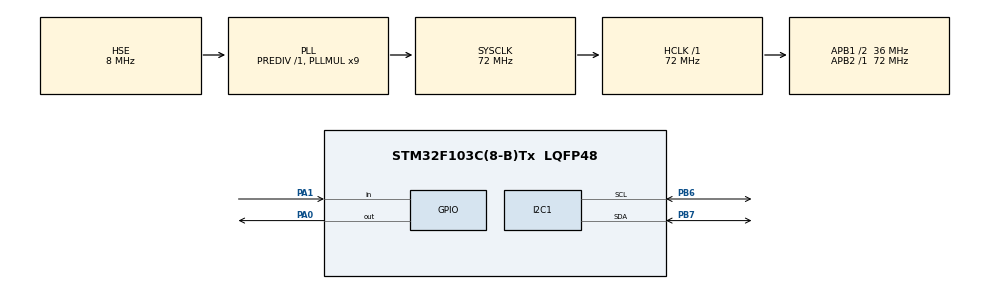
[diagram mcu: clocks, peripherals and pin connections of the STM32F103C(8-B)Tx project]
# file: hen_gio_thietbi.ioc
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Mcu.Family=STM32F1
Mcu.Name=STM32F103C(8-B)Tx
Mcu.Package=LQFP48
NVIC.PriorityGroup=NVIC_PRIORITYGROUP_4
NVIC.TIM1_UP_IRQn=true\:0\:0\:false\:false\:true\:true\:true\:true
PA0-WKUP.GPIO_Speed=GPIO_SPEED_FREQ_HIGH
PA0-WKUP.PinState=GPIO_PIN_SET
PA0-WKUP.Signal=GPIO_Output
PA1.GPIO_PuPd=GPIO_PULLUP
PA1.Signal=GPIO_Input
PA13.Mode=Serial_Wire
PA13.Signal=SYS_JTMS-SWDIO
PA14.Mode=Serial_Wire
PA14.Signal=SYS_JTCK-SWCLK
PB6.Mode=I2C
PB6.Signal=I2C1_SCL
PB7.Mode=I2C
PB7.Signal=I2C1_SDA
PD0-OSC_IN.Mode=HSE-External-Oscillator
PD0-OSC_IN.Signal=RCC_OSC_IN
PD1-OSC_OUT.Mode=HSE-External-Oscillator
PD1-OSC_OUT.Signal=RCC_OSC_OUT
ProjectManager.HeapSize=0x200
ProjectManager.StackSize=0x400
ProjectManager.TargetToolchain=MDK-ARM V5.32
RCC.AHBFreq_Value=72000000
RCC.APB1CLKDivider=RCC_HCLK_DIV2
RCC.APB1Freq_Value=36000000
RCC.APB1TimFreq_Value=72000000
RCC.APB2Freq_Value=72000000
RCC.APB2TimFreq_Value=72000000
RCC.HCLKFreq_Value=72000000
RCC.PLLMUL=RCC_PLL_MUL9
RCC.PLLSourceVirtual=RCC_PLLSOURCE_HSE
RCC.SYSCLKFreq_VALUE=72000000
RCC.SYSCLKSource=RCC_SYSCLKSOURCE_PLLCLK
RCC.USBFreq_Value=72000000
TIM1.Period=9999
TIM1.Prescaler=7199
VP_TIM1_VS_ClockSourceINT.Mode=Internal
board=custom

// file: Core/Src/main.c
/* USER CODE BEGIN Header */
/**
  ******************************************************************************
  * @file           : main.c
  * @brief          : Main program body
  ******************************************************************************
  * @attention
  *
  * Copyright (c) 2022 STMicroelectronics.
  * All rights reserved.
  *
  * This software is licensed under terms that can be found in the LICENSE file
  * in the root directory of this software component.
  * If no LICENSE file comes with this software, it is provided AS-IS.
  *
  ******************************************************************************
  */
/* USER CODE END Header */
#include "main.h"

/* USER CODE BEGIN Includes */
#include "i2c-lcd.h"
/* USER CODE END Includes */

 I2C_HandleTypeDef hi2c1;

TIM_HandleTypeDef htim1;

void SystemClock_Config(void);
static void MX_GPIO_Init(void);
static void MX_TIM1_Init(void);
static void MX_I2C1_Init(void);

/* USER CODE BEGIN 0 */
	uint8_t gio = 0, giay = 0, phut = 0;
	uint8_t dem = 0;
/* USER CODE END 0 */

int main(void)
{

  /* MCU Configuration--------------------------------------------------------*/

  /* Reset of all peripherals, Initializes the Flash interface and the Systick. */
  HAL_Init();

  /* Configure the system clock */
  SystemClock_Config();

  /* Initialize all configured peripherals */
  MX_GPIO_Init();
  MX_TIM1_Init();
  MX_I2C1_Init();
  /* USER CODE BEGIN 2 */
	lcd_init();
	lcd_clear();
	HAL_TIM_Base_Start_IT(&htim1);
  /* USER CODE END 2 */

  /* Infinite loop */
  while (1)
  {

    /* USER CODE BEGIN 3 */
		lcd_send_cmd(0x80|0x00);
		lcd_send_string("TIME: ");
		lcd_send_data((gio/10) + 48);
		lcd_send_data((gio%10) + 48);
		lcd_send_string(":");
		lcd_send_data((phut/10) + 48);
		lcd_send_data((phut%10) + 48);
		lcd_send_string(":");
		lcd_send_data((giay/10) + 48);
		lcd_send_data((giay%10) + 48);
		lcd_send_cmd(0x80|0x40);
		lcd_send_string("Dem: ");
		lcd_send_data(dem + 48);

		if(HAL_GPIO_ReadPin(GPIOA, GPIO_PIN_1) == 0)
		{
			while(HAL_GPIO_ReadPin(GPIOA, GPIO_PIN_1) == 0);
			HAL_GPIO_WritePin(GPIOA, GPIO_PIN_0, 1);
			dem = 1;
		}
  }
  /* USER CODE END 3 */
}

void SystemClock_Config(void)
{
  RCC_OscInitTypeDef RCC_OscInitStruct = {0};
  RCC_ClkInitTypeDef RCC_ClkInitStruct = {0};

  /** Initializes the RCC Oscillators according to the specified parameters
  * in the RCC_OscInitTypeDef structure.
  */
  RCC_OscInitStruct.OscillatorType = RCC_OSCILLATORTYPE_HSE;
  RCC_OscInitStruct.HSEState = RCC_HSE_ON;
  RCC_OscInitStruct.HSEPredivValue = RCC_HSE_PREDIV_DIV1;
  RCC_OscInitStruct.HSIState = RCC_HSI_ON;
  RCC_OscInitStruct.PLL.PLLState = RCC_PLL_ON;
  RCC_OscInitStruct.PLL.PLLSource = RCC_PLLSOURCE_HSE;
  RCC_OscInitStruct.PLL.PLLMUL = RCC_PLL_MUL9;
  if (HAL_RCC_OscConfig(&RCC_OscInitStruct) != HAL_OK)
  {
    Error_Handler();
  }

  /** Initializes the CPU, AHB and APB buses clocks
  */
  RCC_ClkInitStruct.ClockType = RCC_CLOCKTYPE_HCLK|RCC_CLOCKTYPE_SYSCLK
                              |RCC_CLOCKTYPE_PCLK1|RCC_CLOCKTYPE_PCLK2;
  RCC_ClkInitStruct.SYSCLKSource = RCC_SYSCLKSOURCE_PLLCLK;
  RCC_ClkInitStruct.AHBCLKDivider = RCC_SYSCLK_DIV1;
  RCC_ClkInitStruct.APB1CLKDivider = RCC_HCLK_DIV2;
  RCC_ClkInitStruct.APB2CLKDivider = RCC_HCLK_DIV1;

  if (HAL_RCC_ClockConfig(&RCC_ClkInitStruct, FLASH_LATENCY_2) != HAL_OK)
  {
    Error_Handler();
  }
}

static void MX_I2C1_Init(void)
{

  hi2c1.Instance = I2C1;
  hi2c1.Init.ClockSpeed = 100000;
  hi2c1.Init.DutyCycle = I2C_DUTYCYCLE_2;
  hi2c1.Init.OwnAddress1 = 0;
  hi2c1.Init.AddressingMode = I2C_ADDRESSINGMODE_7BIT;
  hi2c1.Init.DualAddressMode = I2C_DUALADDRESS_DISABLE;
  hi2c1.Init.OwnAddress2 = 0;
  hi2c1.Init.GeneralCallMode = I2C_GENERALCALL_DISABLE;
  hi2c1.Init.NoStretchMode = I2C_NOSTRETCH_DISABLE;
  if (HAL_I2C_Init(&hi2c1) != HAL_OK)
  {
    Error_Handler();
  }

}

static void MX_TIM1_Init(void)
{

  TIM_ClockConfigTypeDef sClockSourceConfig = {0};
  TIM_MasterConfigTypeDef sMasterConfig = {0};

  htim1.Instance = TIM1;
  htim1.Init.Prescaler = 7199;
  htim1.Init.CounterMode = TIM_COUNTERMODE_UP;
  htim1.Init.Period = 9999;
  htim1.Init.ClockDivision = TIM_CLOCKDIVISION_DIV1;
  htim1.Init.RepetitionCounter = 0;
  htim1.Init.AutoReloadPreload = TIM_AUTORELOAD_PRELOAD_DISABLE;
  if (HAL_TIM_Base_Init(&htim1) != HAL_OK)
  {
    Error_Handler();
  }
  sClockSourceConfig.ClockSource = TIM_CLOCKSOURCE_INTERNAL;
  if (HAL_TIM_ConfigClockSource(&htim1, &sClockSourceConfig) != HAL_OK)
  {
    Error_Handler();
  }
  sMasterConfig.MasterOutputTrigger = TIM_TRGO_RESET;
  sMasterConfig.MasterSlaveMode = TIM_MASTERSLAVEMODE_DISABLE;
  if (HAL_TIMEx_MasterConfigSynchronization(&htim1, &sMasterConfig) != HAL_OK)
  {
    Error_Handler();
  }

}

static void MX_GPIO_Init(void)
{
  GPIO_InitTypeDef GPIO_InitStruct = {0};

  /* GPIO Ports Clock Enable */
  __HAL_RCC_GPIOD_CLK_ENABLE();
  __HAL_RCC_GPIOA_CLK_ENABLE();
  __HAL_RCC_GPIOB_CLK_ENABLE();

  /*Configure GPIO pin Output Level */
  HAL_GPIO_WritePin(GPIOA, GPIO_PIN_0, GPIO_PIN_SET);

  /*Configure GPIO pin : PA0 */
  GPIO_InitStruct.Pin = GPIO_PIN_0;
  GPIO_InitStruct.Mode = GPIO_MODE_OUTPUT_PP;
  GPIO_InitStruct.Pull = GPIO_NOPULL;
  GPIO_InitStruct.Speed = GPIO_SPEED_FREQ_HIGH;
  HAL_GPIO_Init(GPIOA, &GPIO_InitStruct);

  /*Configure GPIO pin : PA1 */
  GPIO_InitStruct.Pin = GPIO_PIN_1;
  GPIO_InitStruct.Mode = GPIO_MODE_INPUT;
  GPIO_InitStruct.Pull = GPIO_PULLUP;
  HAL_GPIO_Init(GPIOA, &GPIO_InitStruct);

}

void Error_Handler(void)
{
  __disable_irq();
  while (1)
  {
  }
}
